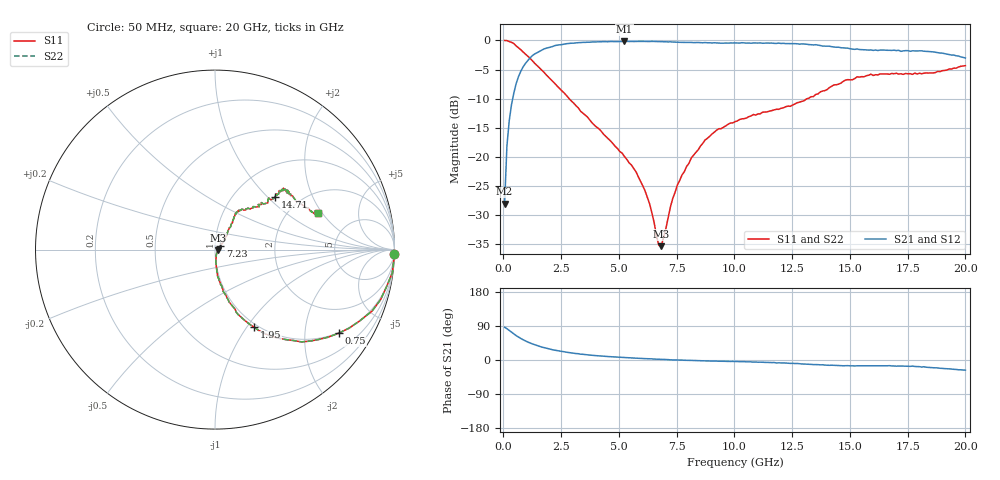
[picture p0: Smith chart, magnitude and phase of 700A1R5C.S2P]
!  American Technical Ceramics  Date:  3/13/98
!  One Norden Lane
!  Huntington Station,  NY.  11746-2102
!  Tel:  (516) 547-5700  Fax:  (516) 547-5748
!  Part Number  700A1R5C
!  Description: Porcelain, High Q, Low ESR
!  Application: Bypass, Coupling, Timing, Feedback
!  Tuning, Impedance Match, Blocking
# GHZ S DB R 50
! Freq  |S11|  S11 Ph  |S21|  S21 Ph  |S12|  S12 Ph  |S22|  S22 Ph
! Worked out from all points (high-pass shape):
!   201 points, 50 MHz to 20 GHz, reference 50 ohm
!   highest |S21| = -0.15 dB at 5.24 GHz (marker M1); lowest = -28.1 dB at 50 MHz (marker M2)
!   |S21| within 3 dB of the highest: 1.118 GHz to end of sweep
!   lowest |S11| = -35.4 dB at 6.83 GHz (marker M3), VSWR 1.03, Z = 51.7 - j0.417 ohm
!   |S11| at or under -10 dB: 2.842 GHz to 13.16 GHz (10.32 GHz wide, 129 % of centre)
!   |S22| runs from -35.4 to 0.0 dB; largest |S21 - S12| = 0
!   S11 on the Smith chart (normalised r, x): 50 MHz: -0, -82; 750 MHz: 0.98, -2.98; 1.95 GHz: 0.96, -1.08; 7.23 GHz: 1.06, +0.05; 14.71 GHz: 1.52, +1.11; 20 GHz: 2.81, +1.81
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0.05  0.00 -1.4  -28.05 86.4  -28.05 86.4  0.00 -1.4
0.15  -0.03 -7.5  -18.15 82.6  -18.15 82.6  -0.03 -7.5
0.25  -0.19 -12.1  -13.80 78.1  -13.80 78.1  -0.19 -12.1
0.45  -0.54 -21.4  -9.03 69.3  -9.03 69.3  -0.54 -21.4
0.75  -1.59 -34.0  -5.30 56.9  -5.30 56.9  -1.59 -34.0
1.35  -3.91 -51.8  -2.33 40.4  -2.33 40.4  -3.91 -51.8
1.95  -6.30 -63.2  -1.23 29.7  -1.23 29.7  -6.30 -63.2
3.44  -12.50 -78.9  -0.33 15.0  -0.33 15.0  -12.50 -78.9
5.24  -19.95 -85.0  -0.15 6.6  -0.15 6.6  -19.95 -85.0
6.13  -25.84 -83.8  -0.16 3.6  -0.16 3.6  -25.84 -83.8
6.73  -35.23 -40.6  -0.19 1.9  -0.19 1.9  -35.23 -40.6
6.83  -35.36 -13.7  -0.21 1.7  -0.21 1.7  -35.36 -13.7
7.23  -28.60 35.0  -0.23 0.4  -0.23 0.4  -28.60 35.0
7.53  -24.84 41.1  -0.31 -0.0  -0.31 -0.0  -24.84 41.1
8.13  -20.21 49.7  -0.34 -1.1  -0.34 -1.1  -20.21 49.7
9.23  -15.41 57.4  -0.42 -3.1  -0.42 -3.1  -15.41 57.4
10.03  -13.95 58.6  -0.42 -4.1  -0.42 -4.1  -13.95 58.6
13.42  -9.65 46.2  -0.77 -12.1  -0.77 -12.1  -9.65 46.2
14.71  -7.03 41.3  -1.27 -15.2  -1.27 -15.2  -7.03 41.3
16.71  -5.81 40.5  -1.69 -14.9  -1.69 -14.9  -5.81 40.5
18.2  -5.63 35.2  -1.85 -17.8  -1.85 -17.8  -5.63 35.2
20  -4.34 19.6  -3.02 -26.7  -3.02 -26.7  -4.34 19.6
